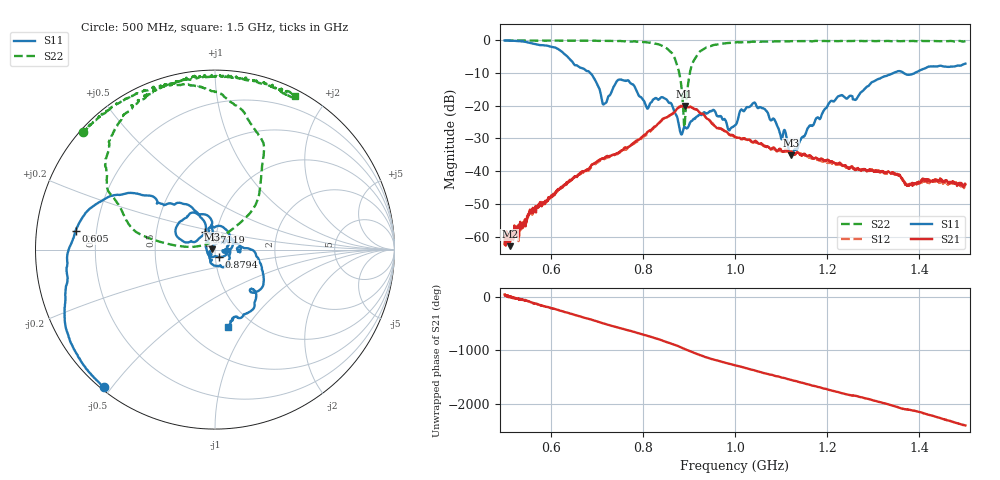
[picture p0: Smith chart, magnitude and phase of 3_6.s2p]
!Agilent Technologies,E8364B,US42250235,A.06.04.32
!Agilent E8364B: A.06.04.32
!Date: Friday, January 15, 2021 12:43:25
!Correction: S11(Full 2 Port(1,2)) S21(Full 2 Port(1,2)) S12(Full 2 Port(1,2)) S22(Full 2 Port(1,2))
!S2P File: Measurements: S11, S21, S12, S22:
# Hz S  dB  R 50
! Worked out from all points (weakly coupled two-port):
!   1601 points, 500 MHz to 1.5 GHz, reference 50 ohm
!   highest |S21| = -20.08 dB at 890.6 MHz (marker M1); lowest = -62.8 dB at 511.2 MHz (marker M2)
!   lowest |S11| = -35.2 dB at 1.121 GHz (marker M3), VSWR 1.04, Z = 48.3 + j0.247 ohm
!   |S11| at or under -10 dB: 685.4 MHz to 1.344 GHz (658.7 MHz wide, 64.9 % of centre); 1.366 GHz to 1.391 GHz (24.64 MHz wide, 1.79 % of centre)
!   |S22| runs from -26.7 to -0.1 dB; largest |S21 - S12| = 0.014
!   S11 on the Smith chart (normalised r, x): 500 MHz: 0.01, -0.48; 605 MHz: 0.12, +0.07; 711.9 MHz: 0.88, +0.18; 879.4 MHz: 1.04, -0.09; 1.5 GHz: 0.77, -0.83
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5e8  -0.12 -128.9  -62.18 42.3  -62.12 32.3  -0.13 138.5
5.1125e8  -0.18 -133.8  -62.82 6.8  -59.96 9.5  -0.15 137.4
6.05e8  -2.12 172.3  -47.40 139.5  -47.41 143.7  -0.20 128.3
6.66875e8  -8.51 138.6  -40.16 -16.9  -40.57 -13.6  -0.18 122.1
7.11875e8  -18.86 118.0  -36.22 -131.2  -36.47 -125.0  -0.23 116.7
7.50625e8  -12.04 145.6  -33.92 134.8  -34.18 140.4  -0.27 110.9
8.09375e8  -20.86 100.4  -28.19 -7.8  -28.55 0.2  -0.70 97.3
8.3375e8  -18.20 91.9  -25.44 -73.6  -25.56 -64.2  -1.27 87.2
8.60625e8  -19.16 27.9  -22.78 -154.2  -22.72 -145.3  -3.63 66.2
8.79375e8  -26.72 -64.0  -20.46 145.4  -20.26 153.8  -10.26 46.8
8.90625e8  -26.53 -132.8  -20.08 103.2  -19.97 110.8  -26.54 127.8
9.0375e8  -24.90 155.1  -20.36 57.4  -20.35 64.6  -8.90 170.5
9.2e8  -23.11 102.1  -21.57 0.5  -21.63 8.9  -4.12 153.5
1e9  -25.99 -7.9  -29.57 157.3  -29.50 166.5  -0.78 120.4
1.0425e9  -19.06 -60.0  -30.84 62.9  -31.14 70.7  -0.52 114.7
1.10875e9  -27.72 -143.3  -33.40 -84.1  -33.89 -75.5  -0.38 105.1
1.12125e9  -35.15 171.6  -33.96 -114.8  -34.17 -106.2  -0.34 102.8
1.166875e9  -26.12 47.2  -35.82 137.6  -35.81 150.0  -0.36 98.0
1.225625e9  -17.07 10.0  -37.49 11.8  -37.89 23.0  -0.31 91.5
1.260625e9  -18.24 1.6  -39.50 -51.9  -39.31 -52.7  -0.28 88.4
1.33375e9  -10.62 -25.1  -40.10 142.2  -40.45 141.2  -0.28 81.4
1.5e9  -7.18 -80.3  -43.99 110.8  -44.88 104.1  -0.32 62.5
